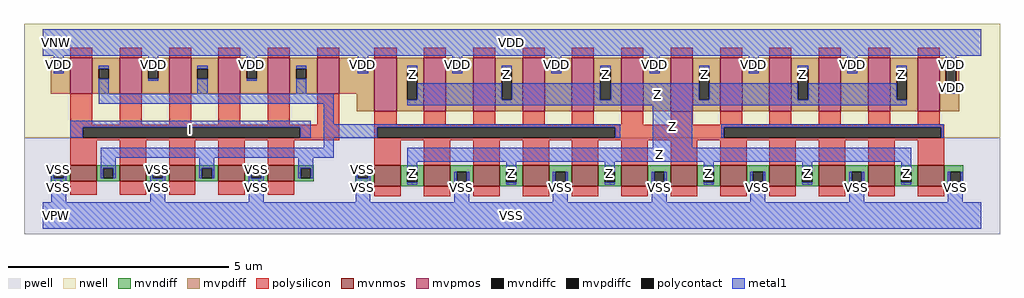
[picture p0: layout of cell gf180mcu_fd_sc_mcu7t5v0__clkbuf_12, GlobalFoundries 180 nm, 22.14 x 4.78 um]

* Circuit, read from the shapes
.subckt gf180mcu_fd_sc_mcu7t5v0__clkbuf_12 I Z VDD VNW VPW VSS
XM1 n1 I VSS VPW nfet_06v0 w=0.365u l=0.6u m=5
XM2 Z n1 VSS VPW nfet_06v0 w=0.48u l=0.6u m=12
XM3 n1 I VDD VNW pfet_06v0 w=0.82u l=0.5u m=6
XM4 Z n1 VDD VNW pfet_06v0 w=1.22u l=0.5u m=12
.ends

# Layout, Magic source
magic
tech gf180mcuD
magscale 1 10
<< nwell >>
rect -86 352 4342 870
<< pwell >>
rect -86 -86 4342 352
<< mvnmos >>
rect 124 155 244 228
rect 348 155 468 228
rect 572 155 692 228
rect 796 155 916 228
rect 1020 155 1140 228
rect 1504 132 1624 228
rect 1728 132 1848 228
rect 1952 132 2072 228
rect 2176 132 2296 228
rect 2400 132 2520 228
rect 2624 132 2744 228
rect 2848 132 2968 228
rect 3072 132 3192 228
rect 3296 132 3416 228
rect 3520 132 3640 228
rect 3744 132 3864 228
rect 3968 132 4088 228
<< mvpmos >>
rect 124 552 224 716
rect 348 552 448 716
rect 572 552 672 716
rect 796 552 896 716
rect 1020 552 1120 716
rect 1244 552 1344 716
rect 1504 472 1604 716
rect 1728 472 1828 716
rect 1952 472 2052 716
rect 2176 472 2276 716
rect 2400 472 2500 716
rect 2624 472 2724 716
rect 2848 472 2948 716
rect 3072 472 3172 716
rect 3296 472 3396 716
rect 3520 472 3620 716
rect 3744 472 3844 716
rect 3968 472 4068 716
<< mvndiff >>
rect 36 215 124 228
rect 36 169 49 215
rect 95 169 124 215
rect 36 155 124 169
rect 244 215 348 228
rect 244 169 273 215
rect 319 169 348 215
rect 244 155 348 169
rect 468 215 572 228
rect 468 169 497 215
rect 543 169 572 215
rect 468 155 572 169
rect 692 215 796 228
rect 692 169 721 215
rect 767 169 796 215
rect 692 155 796 169
rect 916 215 1020 228
rect 916 169 945 215
rect 991 169 1020 215
rect 916 155 1020 169
rect 1140 215 1228 228
rect 1140 169 1169 215
rect 1215 169 1228 215
rect 1140 155 1228 169
rect 1416 215 1504 228
rect 1416 169 1429 215
rect 1475 169 1504 215
rect 1416 132 1504 169
rect 1624 197 1728 228
rect 1624 151 1653 197
rect 1699 151 1728 197
rect 1624 132 1728 151
rect 1848 197 1952 228
rect 1848 151 1877 197
rect 1923 151 1952 197
rect 1848 132 1952 151
rect 2072 197 2176 228
rect 2072 151 2101 197
rect 2147 151 2176 197
rect 2072 132 2176 151
rect 2296 197 2400 228
rect 2296 151 2325 197
rect 2371 151 2400 197
rect 2296 132 2400 151
rect 2520 197 2624 228
rect 2520 151 2549 197
rect 2595 151 2624 197
rect 2520 132 2624 151
rect 2744 197 2848 228
rect 2744 151 2773 197
rect 2819 151 2848 197
rect 2744 132 2848 151
rect 2968 197 3072 228
rect 2968 151 2997 197
rect 3043 151 3072 197
rect 2968 132 3072 151
rect 3192 197 3296 228
rect 3192 151 3221 197
rect 3267 151 3296 197
rect 3192 132 3296 151
rect 3416 197 3520 228
rect 3416 151 3445 197
rect 3491 151 3520 197
rect 3416 132 3520 151
rect 3640 197 3744 228
rect 3640 151 3669 197
rect 3715 151 3744 197
rect 3640 132 3744 151
rect 3864 197 3968 228
rect 3864 151 3893 197
rect 3939 151 3968 197
rect 3864 132 3968 151
rect 4088 197 4176 228
rect 4088 151 4117 197
rect 4163 151 4176 197
rect 4088 132 4176 151
<< mvpdiff >>
rect 36 703 124 716
rect 36 657 49 703
rect 95 657 124 703
rect 36 552 124 657
rect 224 665 348 716
rect 224 619 253 665
rect 299 619 348 665
rect 224 552 348 619
rect 448 667 572 716
rect 448 621 477 667
rect 523 621 572 667
rect 448 552 572 621
rect 672 665 796 716
rect 672 619 701 665
rect 747 619 796 665
rect 672 552 796 619
rect 896 667 1020 716
rect 896 621 925 667
rect 971 621 1020 667
rect 896 552 1020 621
rect 1120 665 1244 716
rect 1120 619 1149 665
rect 1195 619 1244 665
rect 1120 552 1244 619
rect 1344 703 1504 716
rect 1344 657 1429 703
rect 1475 657 1504 703
rect 1344 552 1504 657
rect 1424 472 1504 552
rect 1604 665 1728 716
rect 1604 525 1653 665
rect 1699 525 1728 665
rect 1604 472 1728 525
rect 1828 703 1952 716
rect 1828 657 1857 703
rect 1903 657 1952 703
rect 1828 472 1952 657
rect 2052 665 2176 716
rect 2052 525 2081 665
rect 2127 525 2176 665
rect 2052 472 2176 525
rect 2276 703 2400 716
rect 2276 657 2305 703
rect 2351 657 2400 703
rect 2276 472 2400 657
rect 2500 665 2624 716
rect 2500 525 2529 665
rect 2575 525 2624 665
rect 2500 472 2624 525
rect 2724 703 2848 716
rect 2724 657 2753 703
rect 2799 657 2848 703
rect 2724 472 2848 657
rect 2948 665 3072 716
rect 2948 525 2977 665
rect 3023 525 3072 665
rect 2948 472 3072 525
rect 3172 703 3296 716
rect 3172 657 3201 703
rect 3247 657 3296 703
rect 3172 472 3296 657
rect 3396 665 3520 716
rect 3396 525 3425 665
rect 3471 525 3520 665
rect 3396 472 3520 525
rect 3620 703 3744 716
rect 3620 657 3649 703
rect 3695 657 3744 703
rect 3620 472 3744 657
rect 3844 665 3968 716
rect 3844 525 3873 665
rect 3919 525 3968 665
rect 3844 472 3968 525
rect 4068 703 4156 716
rect 4068 563 4097 703
rect 4143 563 4156 703
rect 4068 472 4156 563
<< mvndiffc >>
rect 49 169 95 215
rect 273 169 319 215
rect 497 169 543 215
rect 721 169 767 215
rect 945 169 991 215
rect 1169 169 1215 215
rect 1429 169 1475 215
rect 1653 151 1699 197
rect 1877 151 1923 197
rect 2101 151 2147 197
rect 2325 151 2371 197
rect 2549 151 2595 197
rect 2773 151 2819 197
rect 2997 151 3043 197
rect 3221 151 3267 197
rect 3445 151 3491 197
rect 3669 151 3715 197
rect 3893 151 3939 197
rect 4117 151 4163 197
<< mvpdiffc >>
rect 49 657 95 703
rect 253 619 299 665
rect 477 621 523 667
rect 701 619 747 665
rect 925 621 971 667
rect 1149 619 1195 665
rect 1429 657 1475 703
rect 1653 525 1699 665
rect 1857 657 1903 703
rect 2081 525 2127 665
rect 2305 657 2351 703
rect 2529 525 2575 665
rect 2753 657 2799 703
rect 2977 525 3023 665
rect 3201 657 3247 703
rect 3425 525 3471 665
rect 3649 657 3695 703
rect 3873 525 3919 665
rect 4097 563 4143 703
<< polysilicon >>
rect 124 716 224 760
rect 348 716 448 760
rect 572 716 672 760
rect 796 716 896 760
rect 1020 716 1120 760
rect 1244 716 1344 760
rect 1504 716 1604 760
rect 1728 716 1828 760
rect 1952 716 2052 760
rect 2176 716 2276 760
rect 2400 716 2500 760
rect 2624 716 2724 760
rect 2848 716 2948 760
rect 3072 716 3172 760
rect 3296 716 3396 760
rect 3520 716 3620 760
rect 3744 716 3844 760
rect 3968 716 4068 760
rect 124 412 224 552
rect 348 412 448 552
rect 572 412 672 552
rect 796 412 896 552
rect 1020 412 1120 552
rect 1244 412 1344 552
rect 124 399 1344 412
rect 124 353 181 399
rect 1167 353 1344 399
rect 124 340 1344 353
rect 1504 412 1604 472
rect 1728 412 1828 472
rect 1952 412 2052 472
rect 2176 412 2276 472
rect 2400 412 2500 472
rect 2624 412 2724 472
rect 2848 412 2948 472
rect 3072 412 3172 472
rect 3296 412 3396 472
rect 3520 412 3620 472
rect 3744 412 3844 472
rect 3968 412 4068 472
rect 1504 399 4088 412
rect 1504 353 1517 399
rect 2597 353 3089 399
rect 4075 353 4088 399
rect 1504 340 4088 353
rect 124 228 244 340
rect 348 228 468 340
rect 572 228 692 340
rect 796 228 916 340
rect 1020 228 1140 340
rect 1504 228 1624 340
rect 1728 228 1848 340
rect 1952 228 2072 340
rect 2176 228 2296 340
rect 2400 228 2520 340
rect 2624 228 2744 340
rect 2848 228 2968 340
rect 3072 228 3192 340
rect 3296 228 3416 340
rect 3520 228 3640 340
rect 3744 228 3864 340
rect 3968 228 4088 340
rect 124 94 244 155
rect 348 94 468 155
rect 572 94 692 155
rect 796 94 916 155
rect 1020 94 1140 155
rect 1504 88 1624 132
rect 1728 88 1848 132
rect 1952 88 2072 132
rect 2176 88 2296 132
rect 2400 88 2520 132
rect 2624 88 2744 132
rect 2848 88 2968 132
rect 3072 88 3192 132
rect 3296 88 3416 132
rect 3520 88 3640 132
rect 3744 88 3864 132
rect 3968 88 4088 132
<< polycontact >>
rect 181 353 1167 399
rect 1517 353 2597 399
rect 3089 353 4075 399
<< metal1 >>
rect 0 724 4256 844
rect 49 703 95 724
rect 49 646 95 657
rect 253 665 299 678
rect 253 552 299 619
rect 477 667 523 724
rect 477 610 523 621
rect 701 665 747 678
rect 701 552 747 619
rect 925 667 971 724
rect 1429 703 1475 724
rect 925 610 971 621
rect 1149 665 1195 678
rect 1857 703 1903 724
rect 1429 646 1475 657
rect 1653 665 1699 678
rect 1149 552 1195 619
rect 253 506 1319 552
rect 124 399 1214 430
rect 124 353 181 399
rect 1167 353 1214 399
rect 1273 413 1319 506
rect 2305 703 2351 724
rect 1857 646 1903 657
rect 2081 665 2127 678
rect 1699 525 2081 600
rect 2753 703 2799 724
rect 2305 646 2351 657
rect 2529 665 2575 678
rect 2127 525 2529 600
rect 3201 703 3247 724
rect 2753 646 2799 657
rect 2977 665 3023 678
rect 2575 525 2977 600
rect 3649 703 3695 724
rect 3201 646 3247 657
rect 3425 665 3471 678
rect 3023 525 3425 600
rect 4097 703 4143 724
rect 3649 646 3695 657
rect 3873 665 3919 678
rect 3471 525 3873 600
rect 4097 552 4143 563
rect 1653 499 3919 525
rect 1273 399 2618 413
rect 1273 353 1517 399
rect 2597 353 2618 399
rect 1273 307 1319 353
rect 2766 307 2946 499
rect 3078 399 4086 413
rect 3078 353 3089 399
rect 4075 353 4086 399
rect 262 261 1319 307
rect 262 215 330 261
rect 710 215 778 261
rect 1158 215 1226 261
rect 1653 243 3939 307
rect 38 169 49 215
rect 95 169 106 215
rect 262 169 273 215
rect 319 169 330 215
rect 486 169 497 215
rect 543 169 554 215
rect 710 169 721 215
rect 767 169 778 215
rect 934 169 945 215
rect 991 169 1002 215
rect 1158 169 1169 215
rect 1215 169 1226 215
rect 1418 169 1429 215
rect 1475 169 1486 215
rect 38 60 106 169
rect 486 60 554 169
rect 934 60 1002 169
rect 1418 60 1486 169
rect 1653 197 1699 243
rect 2101 197 2147 243
rect 2549 197 2595 243
rect 2997 197 3043 243
rect 3445 197 3491 243
rect 3893 197 3939 243
rect 1653 138 1699 151
rect 1866 151 1877 197
rect 1923 151 1934 197
rect 1866 60 1934 151
rect 2101 138 2147 151
rect 2314 151 2325 197
rect 2371 151 2382 197
rect 2314 60 2382 151
rect 2549 138 2595 151
rect 2762 151 2773 197
rect 2819 151 2830 197
rect 2762 60 2830 151
rect 2997 138 3043 151
rect 3210 151 3221 197
rect 3267 151 3278 197
rect 3210 60 3278 151
rect 3445 138 3491 151
rect 3658 151 3669 197
rect 3715 151 3726 197
rect 3658 60 3726 151
rect 3893 138 3939 151
rect 4106 151 4117 197
rect 4163 151 4174 197
rect 4106 60 4174 151
rect 0 -60 4256 60
<< labels >>
flabel metal1 s 0 724 4256 844 0 FreeSans 600 0 0 0 VDD
port 3 nsew power bidirectional abutment
flabel metal1 s 1418 197 1486 215 0 FreeSans 600 0 0 0 VSS
port 6 nsew ground bidirectional abutment
flabel metal1 s 3873 600 3919 678 0 FreeSans 600 0 0 0 Z
port 2 nsew default output
flabel metal1 s 124 353 1214 430 0 FreeSans 600 0 0 0 I
port 1 nsew default input
flabel nwell s 10 734 110 834 0 FreeSans 400 0 0 0 VNW
port 4 nsew power bidirectional
flabel pwell s 10 -50 110 50 0 FreeSans 400 0 0 0 VPW
port 5 nsew ground bidirectional
rlabel metal1 s 3425 600 3471 678 1 Z
port 2 nsew default output
rlabel metal1 s 2977 600 3023 678 1 Z
port 2 nsew default output
rlabel metal1 s 2529 600 2575 678 1 Z
port 2 nsew default output
rlabel metal1 s 2081 600 2127 678 1 Z
port 2 nsew default output
rlabel metal1 s 1653 600 1699 678 1 Z
port 2 nsew default output
rlabel metal1 s 1653 499 3919 600 1 Z
port 2 nsew default output
rlabel metal1 s 2766 307 2946 499 1 Z
port 2 nsew default output
rlabel metal1 s 1653 243 3939 307 1 Z
port 2 nsew default output
rlabel metal1 s 3893 138 3939 243 1 Z
port 2 nsew default output
rlabel metal1 s 3445 138 3491 243 1 Z
port 2 nsew default output
rlabel metal1 s 2997 138 3043 243 1 Z
port 2 nsew default output
rlabel metal1 s 2549 138 2595 243 1 Z
port 2 nsew default output
rlabel metal1 s 2101 138 2147 243 1 Z
port 2 nsew default output
rlabel metal1 s 1653 138 1699 243 1 Z
port 2 nsew default output
rlabel metal1 s 4097 646 4143 724 1 VDD
port 3 nsew power bidirectional abutment
rlabel metal1 s 3649 646 3695 724 1 VDD
port 3 nsew power bidirectional abutment
rlabel metal1 s 3201 646 3247 724 1 VDD
port 3 nsew power bidirectional abutment
rlabel metal1 s 2753 646 2799 724 1 VDD
port 3 nsew power bidirectional abutment
rlabel metal1 s 2305 646 2351 724 1 VDD
port 3 nsew power bidirectional abutment
rlabel metal1 s 1857 646 1903 724 1 VDD
port 3 nsew power bidirectional abutment
rlabel metal1 s 1429 646 1475 724 1 VDD
port 3 nsew power bidirectional abutment
rlabel metal1 s 925 646 971 724 1 VDD
port 3 nsew power bidirectional abutment
rlabel metal1 s 477 646 523 724 1 VDD
port 3 nsew power bidirectional abutment
rlabel metal1 s 49 646 95 724 1 VDD
port 3 nsew power bidirectional abutment
rlabel metal1 s 4097 610 4143 646 1 VDD
port 3 nsew power bidirectional abutment
rlabel metal1 s 925 610 971 646 1 VDD
port 3 nsew power bidirectional abutment
rlabel metal1 s 477 610 523 646 1 VDD
port 3 nsew power bidirectional abutment
rlabel metal1 s 4097 552 4143 610 1 VDD
port 3 nsew power bidirectional abutment
rlabel metal1 s 934 197 1002 215 1 VSS
port 6 nsew ground bidirectional abutment
rlabel metal1 s 486 197 554 215 1 VSS
port 6 nsew ground bidirectional abutment
rlabel metal1 s 38 197 106 215 1 VSS
port 6 nsew ground bidirectional abutment
rlabel metal1 s 4106 60 4174 197 1 VSS
port 6 nsew ground bidirectional abutment
rlabel metal1 s 3658 60 3726 197 1 VSS
port 6 nsew ground bidirectional abutment
rlabel metal1 s 3210 60 3278 197 1 VSS
port 6 nsew ground bidirectional abutment
rlabel metal1 s 2762 60 2830 197 1 VSS
port 6 nsew ground bidirectional abutment
rlabel metal1 s 2314 60 2382 197 1 VSS
port 6 nsew ground bidirectional abutment
rlabel metal1 s 1866 60 1934 197 1 VSS
port 6 nsew ground bidirectional abutment
rlabel metal1 s 1418 60 1486 197 1 VSS
port 6 nsew ground bidirectional abutment
rlabel metal1 s 934 60 1002 197 1 VSS
port 6 nsew ground bidirectional abutment
rlabel metal1 s 486 60 554 197 1 VSS
port 6 nsew ground bidirectional abutment
rlabel metal1 s 38 60 106 197 1 VSS
port 6 nsew ground bidirectional abutment
rlabel metal1 s 0 -60 4256 60 1 VSS
port 6 nsew ground bidirectional abutment
<< properties >>
string FIXED_BBOX 0 0 4256 784
string GDS_END 789406
string GDS_FILE $PDKPATH/libs.ref/gf180mcu_fd_sc_mcu7t5v0/gds/gf180mcu_fd_sc_mcu7t5v0.gds
string GDS_START 780202
string LEFclass core
string LEFsite GF018hv5v_mcu_sc7
string LEFsymmetry X Y
<< end >>
